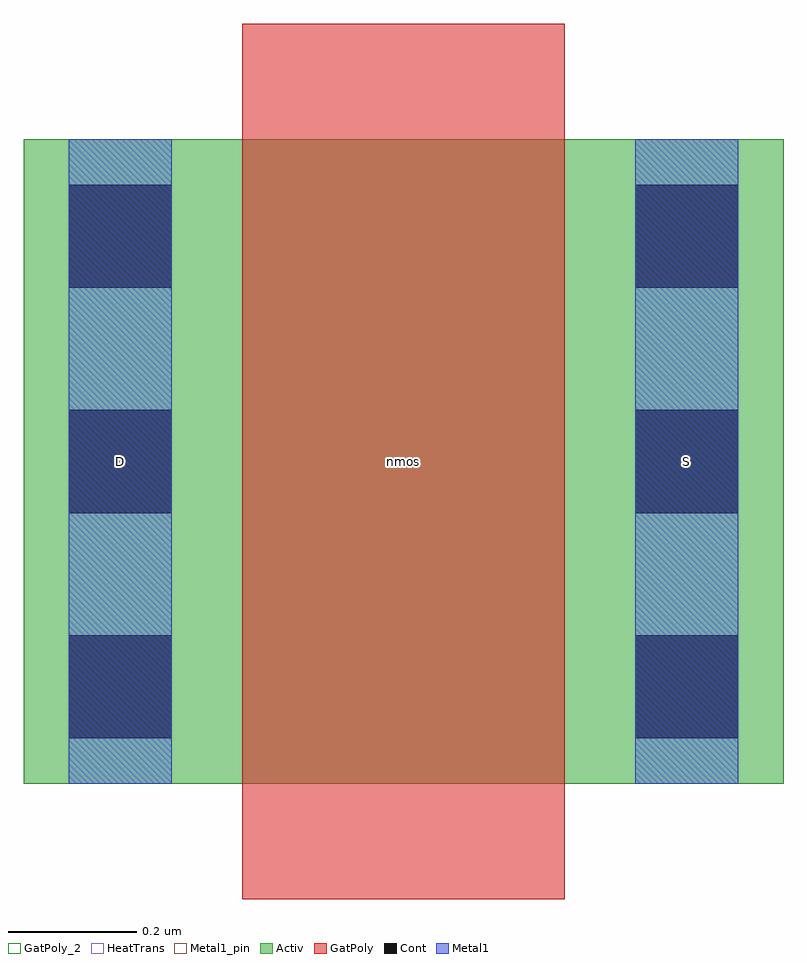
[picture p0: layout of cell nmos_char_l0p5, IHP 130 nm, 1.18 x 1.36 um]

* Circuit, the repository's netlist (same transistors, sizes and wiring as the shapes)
* nmos_char_l0p5 — generated from DeviceSpec; do not edit by hand
.SUBCKT nmos_char_l0p5 D G S
M1 D G S sub sg13_lv_nmos w=1u l=0.5u ng=1 m=1
.ENDS nmos_char_l0p5

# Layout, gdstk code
import gdstk
lib = gdstk.Library(unit=1e-6, precision=1e-09)
def R(c, l, rs):  # rectangles x0, y0, x1, y1
    for r in rs: c.add(gdstk.rectangle(r[:2], r[2:], *l))
def A(c, l, x, y, w, h, nx, ny, dx, dy):  # array of equal rectangles
    R(c, l, [(x+i*dx, y+j*dy, x+i*dx+w, y+j*dy+h) for i in range(nx) for j in range(ny)])
Activ = (1, 0)
GatPoly = (5, 0)
GatPoly_2 = (5, 2)
Cont = (6, 0)
Metal1 = (8, 0)
Metal1_pin = (8, 2)
HeatTrans = (51, 0)

nmos_char_l0p5 = lib.new_cell('nmos_char_l0p5')
R(nmos_char_l0p5, Activ, [(0,0,0.3,0.3), (0,0,1.18,1), (0.88,0,1.18,0.3)])
R(nmos_char_l0p5, GatPoly, [(0.34,-0.18,0.84,1.18)])
R(nmos_char_l0p5, GatPoly_2, [(0.34,-0.18,0.84,1.18)])
A(nmos_char_l0p5, Cont, 0.07, 0.07, 0.16, 0.16, 1, 3, 0, 0.35)
A(nmos_char_l0p5, Cont, 0.95, 0.07, 0.16, 0.16, 1, 3, 0, 0.35)
R(nmos_char_l0p5, Metal1, [(0.07,0,0.23,1), (0.95,0,1.11,1)])
R(nmos_char_l0p5, Metal1_pin, [(0.07,0,0.23,1), (0.95,0,1.11,1)])
R(nmos_char_l0p5, HeatTrans, [(0.34,-0.18,0.84,1.18)])
nmos_char_l0p5.add(gdstk.Label('nmos', (0.59,0.5), layer=63, texttype=0))
nmos_char_l0p5.add(gdstk.Label('nmos', (0.59,0.5), layer=51, texttype=0))
nmos_char_l0p5.add(gdstk.Label('D', (0.15,0.5), layer=8, texttype=25))
nmos_char_l0p5.add(gdstk.Label('S', (1.03,0.5), layer=8, texttype=25))

lib.write_gds('nmos_char_l0p5.gds')
